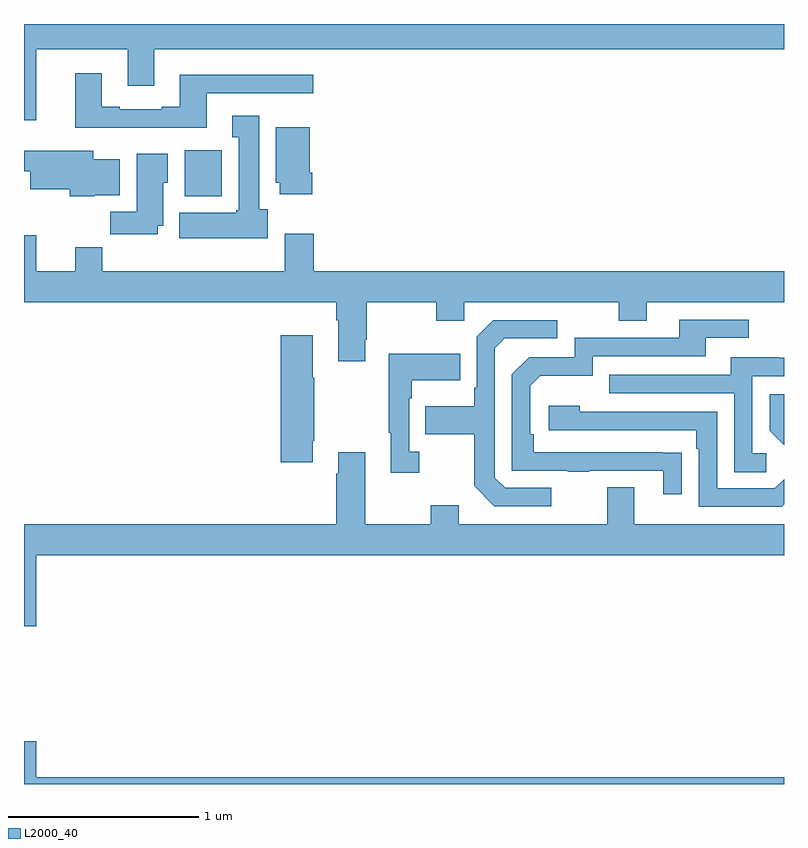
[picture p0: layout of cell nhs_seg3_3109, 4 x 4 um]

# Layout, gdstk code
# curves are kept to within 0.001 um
import gdstk
lib = gdstk.Library(unit=1e-6, precision=1e-09)
def R(c, l, rs):  # rectangles x0, y0, x1, y1
    for r in rs: c.add(gdstk.rectangle(r[:2], r[2:], *l))
def P(c, l, *ps):  # polygons
    for p in ps: c.add(gdstk.Polygon(p, *l))
L2000_40 = (2000, 40)

nhs_seg3_3109 = lib.new_cell('nhs_seg3_3109')
R(nhs_seg3_3109, L2000_40, [(273.845,681.494,274.042,681.736)])
P(nhs_seg3_3109, L2000_40, [(273.064,682.268),(273.545,682.268),(273.545,682.074),(273.685,682.074),(273.685,682.268),(277,682.268),(277,682.4),(273,682.4),(273,681.894),(273.064,681.894)],
  [(273.961,682.035),(274.522,682.035),(274.522,682.132),(273.821,682.132),(273.821,681.964),(273.725,681.964),(273.725,681.951),(273.505,681.951),(273.505,681.964),(273.409,681.964),(273.409,682.141),(273.269,682.141),(273.269,681.854),(273.961,681.854)],
  [(274.282,681.426),(274.237,681.426),(274.237,681.916),(274.097,681.916),(274.097,681.803),(274.13,681.803),(274.13,681.42),(274.117,681.42),(274.117,681.406),(273.818,681.406),(273.818,681.272),(274.282,681.272)],
  [(274.517,681.616),(274.504,681.616),(274.504,681.856),(274.325,681.856),(274.325,681.564),(274.346,681.564),(274.346,681.504),(274.517,681.504)],
  [(273.372,681.5),(273.505,681.5),(273.505,681.688),(273.364,681.688),(273.364,681.733),(273,681.733),(273,681.624),(273.032,681.624),(273.032,681.53),(273.242,681.53),(273.242,681.494),(273.372,681.494)],
  [(273.703,681.338),(273.733,681.338),(273.733,681.564),(273.757,681.564),(273.757,681.718),(273.593,681.718),(273.593,681.412),(273.454,681.412),(273.454,681.294),(273.703,681.294)],
  [(274.795,680.737),(274.803,680.737),(274.803,680.936),(275.17,680.936),(275.17,680.837),(275.316,680.837),(275.316,680.936),(276.13,680.936),(276.13,680.837),(276.277,680.837),(276.277,680.936),(277,680.936),(277,681.1),(274.526,681.1),(274.526,681.295),(274.373,681.295),(274.373,681.1),(273.413,681.1),(273.413,681.224),(273.269,681.224),(273.269,681.1),(273.064,681.1),(273.064,681.289),(273,681.289),(273,680.936),(274.643,680.936),(274.643,680.84),(274.655,680.84),(274.655,680.625),(274.795,680.625)],
  [(276.461,680.144),(275.684,680.145),(275.684,680.242),(275.664,680.242),(275.664,680.496),(275.717,680.549),(275.994,680.549),(275.994,680.652),(276.589,680.652),(276.589,680.748),(276.814,680.748),(276.814,680.844),(276.449,680.844),(276.449,680.748),(275.898,680.748),(275.898,680.646),(275.658,680.646),(275.568,680.556),(275.568,680.049),(275.863,680.049),(275.863,680.044),(275.975,680.044),(275.975,680.049),(276.365,680.049),(276.365,679.926),(276.461,679.926)],
  [(275.776,679.959),(275.532,679.959),(275.478,680.013),(275.478,680.694),(275.529,680.745),(275.806,680.745),(275.806,680.841),(275.469,680.841),(275.382,680.754),(275.382,680.485),(275.37,680.485),(275.37,680.389),(275.113,680.389),(275.113,680.242),(275.37,680.242),(275.37,679.969),(275.475,679.863),(275.776,679.863)],
  [(274.519,680.206),(274.527,680.206),(274.527,680.537),(274.519,680.537),(274.519,680.761),(274.352,680.761),(274.352,680.094),(274.519,680.094)],
  [(275.08,680.15),(275.028,680.15),(275.028,680.429),(275.041,680.429),(275.041,680.525),(275.297,680.525),(275.297,680.665),(274.92,680.665),(274.92,680.249),(274.931,680.249),(274.931,680.037),(275.08,680.037)],
  [(276.907,680.142),(276.834,680.142),(276.834,680.547),(277,680.547),(277,680.643),(276.973,680.643),(276.973,680.647),(276.719,680.647),(276.719,680.553),(276.079,680.553),(276.079,680.457),(276.738,680.457),(276.738,680.041),(276.907,680.041)],
  [(277,680.452),(276.924,680.452),(276.924,680.258),(277,680.182)],
  [(277,679.873),(277,680.005),(276.951,679.956),(276.648,679.956),(276.648,680.358),(275.924,680.358),(275.924,680.392),(275.763,680.392),(275.763,680.262),(276.539,680.262),(276.539,680.165),(276.552,680.165),(276.552,679.86),(276.987,679.86)],
  [(273.064,679.604),(277,679.604),(277,679.768),(276.211,679.768),(276.211,679.963),(276.071,679.963),(276.071,679.768),(275.287,679.768),(275.287,679.867),(275.14,679.867),(275.14,679.768),(274.795,679.768),(274.795,680.146),(274.655,680.146),(274.655,680.033),(274.643,680.033),(274.643,679.768),(273,679.768),(273,679.23),(273.064,679.23)],
  [(277,678.436),(273.064,678.436),(273.064,678.625),(273,678.625),(273,678.4),(277,678.4)])

lib.write_gds('nhs_seg3_3109.gds')
